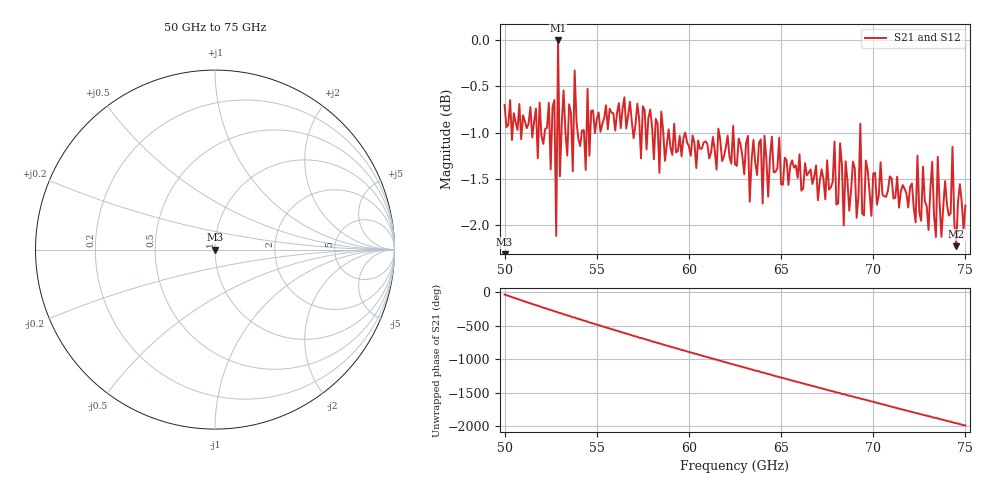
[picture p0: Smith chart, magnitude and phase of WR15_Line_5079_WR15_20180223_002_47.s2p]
# GHZ S RI R 50
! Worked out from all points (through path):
!   251 points, 50 GHz to 75 GHz, reference 50 ohm
!   highest |S21| = -0.01 dB at 52.9 GHz (marker M1); lowest = -2.2 dB at 74.5 GHz (marker M2)
!   lowest |S11| = - dB at 50 GHz (marker M3), VSWR 1.00, Z = 50 + j1.26e-16 ohm
!   |S11| at or under -10 dB: start of sweep to end of sweep
!   |S22| runs from - to - dB; largest |S21 - S12| = 1.4e-15
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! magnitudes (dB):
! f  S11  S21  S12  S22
! 50 GHz  -  -0.7  -0.7  -
! 52.4 GHz  -  -0.7  -0.7  -
! 52.5 GHz  -  -1.4  -1.4  -
! 52.7 GHz  -  -0.7  -0.7  -
! 52.8 GHz  -  -2.1  -2.1  -
! 52.9 GHz  -  0.0  0.0  -
! 53 GHz  -  -1.5  -1.5  -
! 53.2 GHz  -  -0.5  -0.5  -
! 54.2 GHz  -  -1.0  -1.0  -
! 58.4 GHz  -  -1.4  -1.4  -
! 58.5 GHz  -  -0.8  -0.8  -
! 62.5 GHz  -  -1.3  -1.3  -
! 66.7 GHz  -  -1.6  -1.6  -
! 70.9 GHz  -  -1.5  -1.5  -
! 73 GHz  -  -2.0  -2.0  -
! 73.2 GHz  -  -1.3  -1.3  -
! 73.4 GHz  -  -2.1  -2.1  -
! 73.5 GHz  -  -1.3  -1.3  -
! 73.7 GHz  -  -2.1  -2.1  -
! 74.3 GHz  -  -1.2  -1.2  -
! 74.5 GHz  -  -2.2  -2.2  -
! 75 GHz  -  -1.8  -1.8  -
